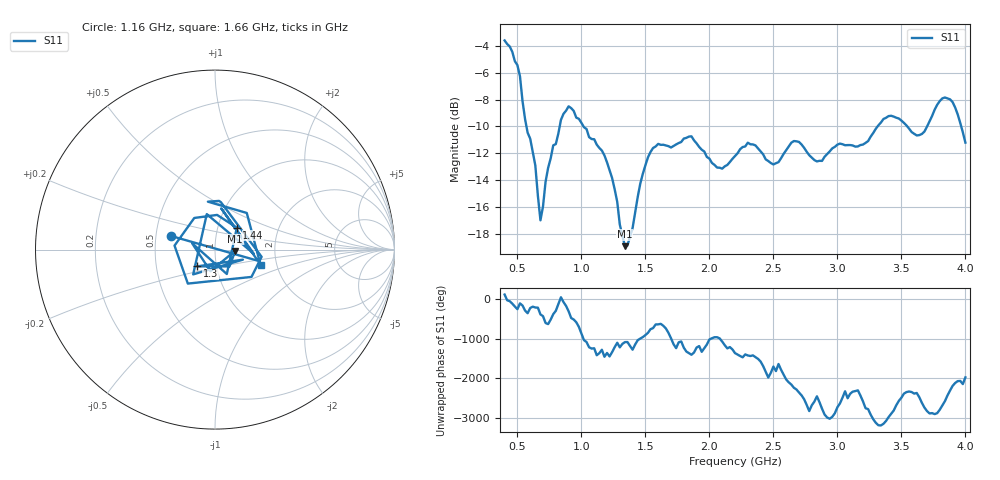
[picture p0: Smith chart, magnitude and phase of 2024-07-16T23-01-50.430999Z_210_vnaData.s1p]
!Created with skrf (http://scikit-rf.org).
# Hz S RI R 50.0
!freq ReS11 ImS11
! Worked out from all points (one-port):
!   181 points, 400 MHz to 4 GHz, reference 50 ohm
!   lowest |S11| = -18.9 dB at 1.34 GHz (marker M1), VSWR 1.25, Z = 62.7 - j0.924 ohm
!   |S11| at or under -10 dB: 570.7 MHz to 830.4 MHz (259.7 MHz wide, 37.1 % of centre); 1.016 GHz to 3.314 GHz (2.297 GHz wide, 106 % of centre); 3.546 GHz to 3.701 GHz (154.8 MHz wide, 4.27 % of centre) (the widest 3 of 4)
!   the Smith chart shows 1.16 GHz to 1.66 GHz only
!   S11 on the Smith chart (normalised r, x): 1.16 GHz: 0.60, +0.10; 1.3 GHz: 0.81, -0.15; 1.44 GHz: 1.23, +0.31; 1.66 GHz: 1.65, -0.31
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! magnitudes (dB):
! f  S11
! 400 MHz  -3.6
! 520 MHz  -6.3
! 560 MHz  -9.5
! 640 MHz  -12.9
! 680 MHz  -17.0
! 740 MHz  -13.1
! 860 MHz  -9.1
! 1.16 GHz  -11.8
! 1.24 GHz  -13.9
! 1.3 GHz  -17.3
! 1.34 GHz  -18.9
! 1.44 GHz  -15.3
! 1.54 GHz  -11.9
! 1.66 GHz  -11.4
! 1.76 GHz  -11.2
! 1.86 GHz  -10.7
! 2.06 GHz  -13.1
! 2.2 GHz  -12.2
! 2.3 GHz  -11.2
! 2.5 GHz  -12.8
! 2.66 GHz  -11.1
! 2.84 GHz  -12.6
! 3.1 GHz  -11.4
! 3.4 GHz  -9.2
! 3.56 GHz  -10.2
! 3.66 GHz  -10.6
! 3.84 GHz  -7.8
! 4 GHz  -11.2
